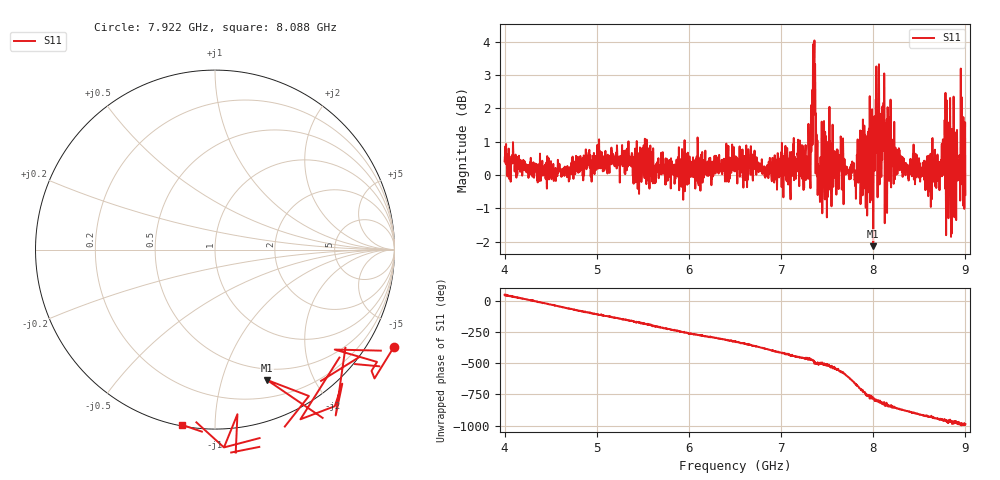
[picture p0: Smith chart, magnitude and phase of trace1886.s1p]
! Created with skrf 1.8.0 (http://scikit-rf.org).
# Hz S RI R 50.0
!freq ReS11 ImS11
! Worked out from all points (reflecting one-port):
!   1601 points, 4 GHz to 9 GHz, reference 50 ohm
!   lowest |S11| = -2.1 dB at 8 GHz (marker M1), VSWR 8.16, Z = 18.8 - j70.3 ohm
!   phase of S11 starts at 53 deg and turns -1042 deg over the sweep
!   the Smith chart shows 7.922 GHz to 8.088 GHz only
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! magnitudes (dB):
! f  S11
! 4 GHz  0.4
! 4.625 GHz  0.0
! 5.25 GHz  -0.2
! 5.875 GHz  0.0
! 6.5 GHz  0.1
! 7.125 GHz  0.6
! 7.294 GHz  -0.1
! 7.319 GHz  -0.4
! 7.347 GHz  3.9
! 7.369 GHz  3.3
! 7.4 GHz  0.3
! 7.422 GHz  -0.8
! 7.512 GHz  1.0
! 7.572 GHz  0.4
! 7.75 GHz  0.1
! 8 GHz  -2.1
! 8.038 GHz  1.6
! 8.066 GHz  1.5
! 8.097 GHz  0.5
! 8.15 GHz  -1.1
! 8.178 GHz  1.7
! 8.216 GHz  0.7
! 8.375 GHz  0.2
! 8.697 GHz  0.6
! 8.788 GHz  -0.5
! 8.869 GHz  -0.3
! 8.972 GHz  0.8
! 9 GHz  -0.6
